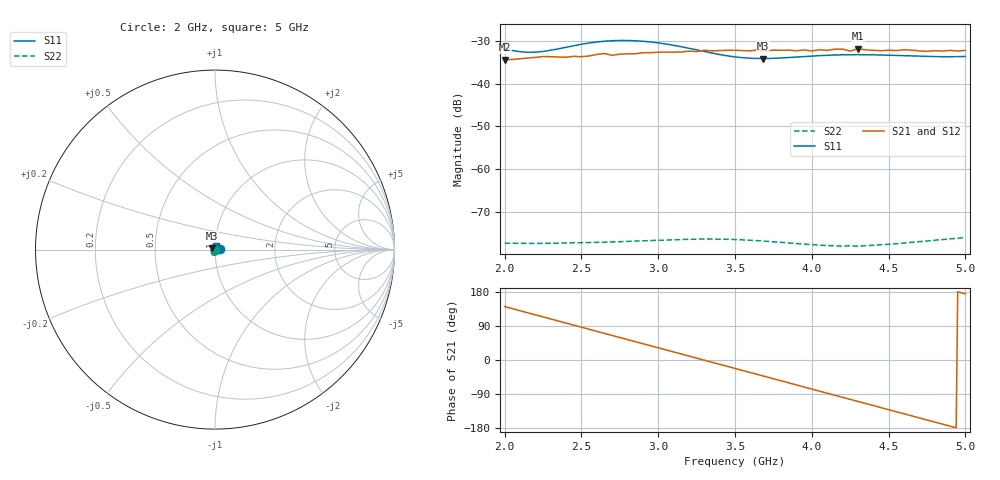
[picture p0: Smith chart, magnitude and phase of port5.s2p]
!Created with skrf (http://scikit-rf.org).
# MHz S RI R 50.0
!freq ReS11 ImS11 ReS21 ImS21 ReS12 ImS12 ReS22 ImS22
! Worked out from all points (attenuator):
!   301 points, 2 GHz to 5 GHz, reference 50 ohm
!   highest |S21| = -31.87 dB at 4.3 GHz (marker M1); lowest = -34.4 dB at 2 GHz (marker M2)
!   lowest |S11| = -34.1 dB at 3.68 GHz (marker M3), VSWR 1.04, Z = 48.2 + j0.674 ohm
!   |S11| at or under -10 dB: start of sweep to end of sweep
!   |S22| runs from -78.1 to -76.0 dB; largest |S21 - S12| = 0
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2000  0.0251 0.00387  -0.0148 0.012  -0.0148 0.012  9.67e-05 9.49e-05
2110  0.0229 -0.00508  -0.0123 0.0152  -0.0123 0.0152  9.52e-05 9.57e-05
2200  0.02 -0.012  -0.00985 0.0176  -0.00985 0.0176  9.4e-05 9.66e-05
2250  0.018 -0.0155  -0.00834 0.019  -0.00834 0.019  9.34e-05 9.72e-05
2500  0.00556 -0.0283  0.00124 0.0206  0.00124 0.0206  9.33e-05 0.000101
2650  -0.00232 -0.0312  0.0076 0.0211  0.0076 0.0211  9.3e-05 0.000104
2700  -0.0048 -0.0313  0.00913 0.0194  0.00913 0.0194  9.41e-05 0.000104
2750  -0.00716 -0.0311  0.0112 0.019  0.0112 0.019  9.43e-05 0.000105
3000  -0.0164 -0.025  0.0197 0.0124  0.0197 0.0124  9.86e-05 0.000109
3500  -0.0205 -0.00107  0.0227 -0.00932  0.0227 -0.00932  0.000111 0.000101
3680  -0.0183 0.00699  0.0181 -0.0162  0.0181 -0.0162  0.000109 9.34e-05
3950  -0.0133 0.0159  0.00792 -0.0234  0.00792 -0.0234  0.0001 8.65e-05
4000  -0.0122 0.017  0.00552 -0.0234  0.00552 -0.0234  9.78e-05 8.7e-05
4150  -0.00903 0.0196  -0.00135 -0.0252  -0.00135 -0.0252  9.03e-05 8.76e-05
4200  -0.00797 0.0202  -0.00373 -0.025  -0.00373 -0.025  8.82e-05 8.9e-05
4250  -0.00693 0.0206  -0.00578 -0.0233  -0.00578 -0.0233  8.75e-05 9.16e-05
4300  -0.00589 0.021  -0.00846 -0.0241  -0.00846 -0.0241  8.42e-05 9.26e-05
4450  -0.00286 0.0214  -0.0141 -0.0197  -0.0141 -0.0197  8.29e-05 0.0001
4500  -0.00188 0.0214  -0.0161 -0.0185  -0.0161 -0.0185  8.21e-05 0.000103
4600  4.24e-05 0.0212  -0.0196 -0.0153  -0.0196 -0.0153  8.22e-05 0.000108
4750  0.00289 0.0205  -0.0221 -0.00881  -0.0221 -0.00881  8.71e-05 0.000115
5000  0.00778 0.0192  -0.0243 0.00233  -0.0243 0.00233  9.89e-05 0.000123
